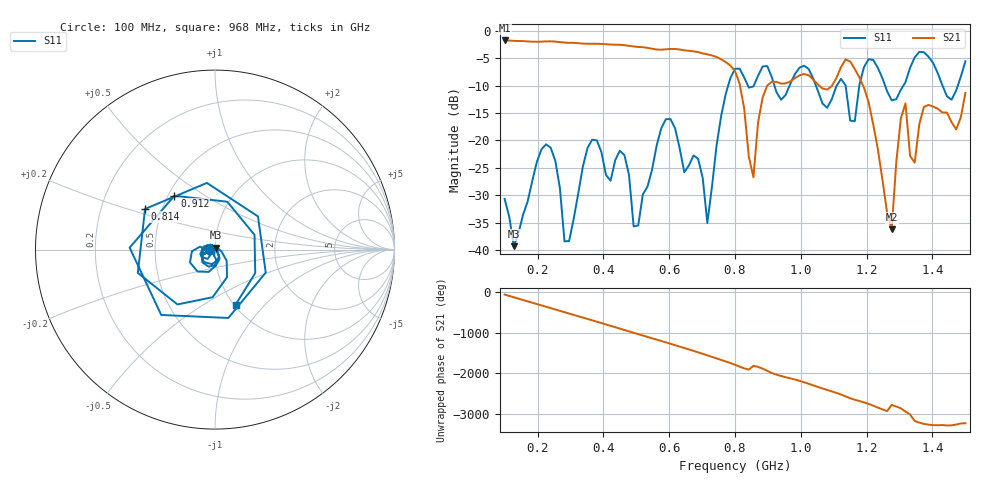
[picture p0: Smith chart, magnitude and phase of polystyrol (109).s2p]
! NanoVNA-App
! Date: 2025-09-26 09:42:44
! Start: 100MHz Stop: 1,5GHz Points: 101
! S-Parameter data: F S11 S21 S12 S22
# Hz S RI R 50
!  Frequency  S11_Real  S11_Imag  S21_Real  S21_Imag  S12_Real  S12_Imag  S22_Real  S22_Imag
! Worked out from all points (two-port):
!   101 points, 100 MHz to 1.5 GHz, reference 50 ohm
!   highest |S21| = -1.79 dB at 100 MHz (marker M1); lowest = -36.2 dB at 1.276 GHz (marker M2)
!   |S21| within 3 dB of the highest: start of sweep to 743.4 MHz
!   lowest |S11| = -39.3 dB at 128 MHz (marker M3), VSWR 1.02, Z = 50.3 + j1.06 ohm
!   |S11| at or under -10 dB: start of sweep to 779.3 MHz; 1.046 GHz to 1.109 GHz (63.63 MHz wide, 5.91 % of centre); 1.256 GHz to 1.312 GHz (55.78 MHz wide, 4.34 % of centre)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
!   S12 and S22 are empty: the file has one direction only
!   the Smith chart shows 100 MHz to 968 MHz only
!   S11 on the Smith chart (normalised r, x): 100 MHz: 0.94, -0.01; 814 MHz: 0.40, +0.23; 912 MHz: 0.54, +0.38; 968 MHz: 1.02, -0.70
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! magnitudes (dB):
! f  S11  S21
! 100 MHz  -30.7  -1.8
! 128 MHz  -39.3  -1.9
! 212 MHz  -21.6  -2.0
! 254 MHz  -23.7  -2.0
! 282 MHz  -38.4  -2.2
! 338 MHz  -24.7  -2.4
! 464 MHz  -22.7  -2.7
! 506 MHz  -35.5  -3.0
! 576 MHz  -17.8  -3.5
! 688 MHz  -23.3  -3.9
! 716 MHz  -35.1  -4.3
! 800 MHz  -7.0  -7.4
! 814 MHz  -6.9  -9.7
! 856 MHz  -10.2  -26.7
! 912 MHz  -8.5  -9.3
! 968 MHz  -9.7  -9.3
! 1.038 GHz  -8.8  -8.9
! 1.178 GHz  -9.9  -8.5
! 1.276 GHz  -12.7  -36.2
! 1.318 GHz  -9.4  -13.3
! 1.346 GHz  -4.9  -24.0
! 1.5 GHz  -5.6  -11.4
